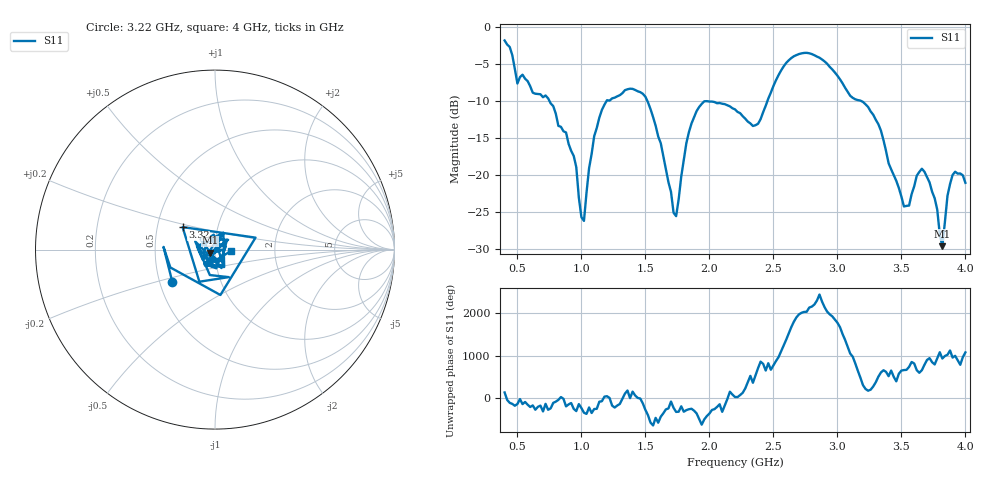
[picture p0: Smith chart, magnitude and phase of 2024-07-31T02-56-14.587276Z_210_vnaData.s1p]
!Created with skrf (http://scikit-rf.org).
# Hz S RI R 50.0
!freq ReS11 ImS11
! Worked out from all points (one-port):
!   181 points, 400 MHz to 4 GHz, reference 50 ohm
!   lowest |S11| = -29.7 dB at 3.82 GHz (marker M1), VSWR 1.07, Z = 47.2 - j1.6 ohm
!   |S11| at or under -10 dB: 749.7 MHz to 1.197 GHz (447.7 MHz wide, 46 % of centre); 1.515 GHz to 2.454 GHz (939.1 MHz wide, 47.3 % of centre); 3.183 GHz to end of sweep
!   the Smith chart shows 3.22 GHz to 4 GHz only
!   S11 on the Smith chart (normalised r, x): 3.22 GHz: 0.58, -0.23; 3.32 GHz: 0.68, +0.18; 4 GHz: 1.19, -0.02
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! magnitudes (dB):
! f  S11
! 400 MHz  -1.8
! 500 MHz  -7.7
! 720 MHz  -9.3
! 860 MHz  -14.1
! 940 MHz  -17.4
! 1.02 GHz  -26.2
! 1.06 GHz  -19.1
! 1.14 GHz  -12.3
! 1.3 GHz  -9.2
! 1.5 GHz  -9.4
! 1.62 GHz  -15.7
! 1.72 GHz  -25.1
! 1.76 GHz  -23.3
! 1.82 GHz  -15.7
! 1.92 GHz  -10.8
! 2.2 GHz  -11.2
! 2.38 GHz  -13.1
! 2.66 GHz  -4.0
! 2.88 GHz  -4.4
! 3.1 GHz  -9.3
! 3.22 GHz  -10.5
! 3.32 GHz  -13.2
! 3.56 GHz  -24.2
! 3.68 GHz  -19.6
! 3.76 GHz  -23.2
! 3.82 GHz  -29.7
! 3.9 GHz  -20.0
! 4 GHz  -21.1
